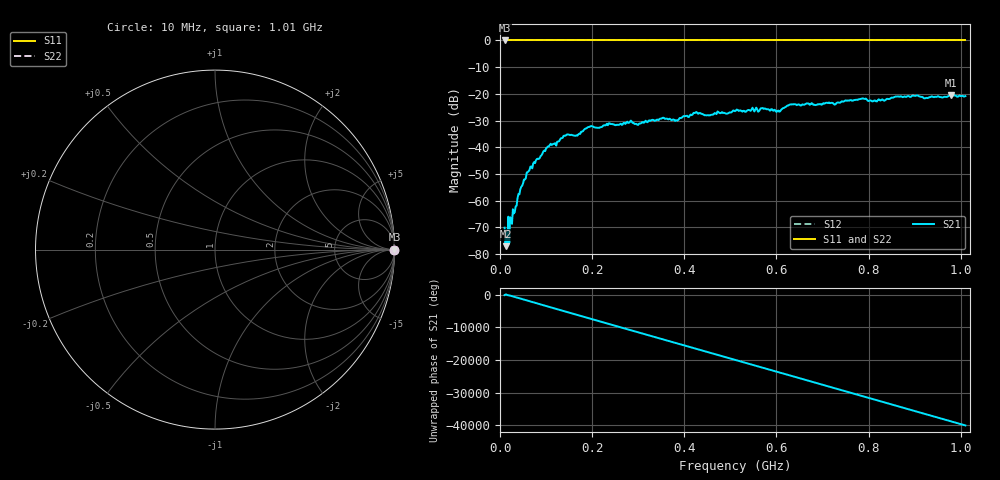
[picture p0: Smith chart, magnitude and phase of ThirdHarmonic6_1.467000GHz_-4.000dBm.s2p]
! 8/16/2025 5:04:48 PM
! C:\ANRITSUVNA\TEMP\TEMP.S2P
! CHANNEL.1
! TR.MEASUREMENT
! RAW.DATA
! RF.CORRECTION.OFF
! AVERAGING.OFF
! IF.BANDWIDTH: 5KHZ
! SWEEPTYPE:  FREQ.SWEEP(Linear)
! Reference Plane Port Info
! PORT:  PORT1  PORT2
! DISTANCE:  0  m  0  m
! TIME:  0  s  0  s
! PHASE.OFFSET:  0  deg.  0  deg.
! LOSS:  0  dB  0  dB
! REF.LOSS:  0  dB  0  dB
! REF.FREQ:  0  Hz  0  Hz
! Power Info
! POWER:  -20  dBm  -20  dBm
! EFF.POWER:  -20  dBm  -20  dBm
! SOURCE.ATTEN:  0  dB  0  dB
! TEST.ATTEN:  0  dB  0  dB
# GHZ S RI R 50.0
! FREQ.GHZ  S11RE  S11IM  S21RE  S21IM  S12RE  S12IM  S22RE  S22IM
!; PortSelection: Port_12
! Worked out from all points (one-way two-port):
!   501 points, 10 MHz to 1.01 GHz, reference 50 ohm
!   highest |S21| = -20.52 dB at 978 MHz (marker M1); lowest = -77.0 dB at 12 MHz (marker M2)
!   lowest |S11| = 0.0 dB at 10 MHz (marker M3)
!   |S11| at or under -10 dB: nowhere
!   |S22| runs from 0.0 to 0.0 dB; largest |S21 - S12| = 1.1
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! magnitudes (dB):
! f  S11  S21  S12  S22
! 10 MHz  0.0  -70.1  0.0  0.0
! 12 MHz  0.0  -77.0  0.0  0.0
! 16 MHz  0.0  -76.1  0.0  0.0
! 26 MHz  0.0  -68.7  0.0  0.0
! 48 MHz  0.0  -54.4  0.0  0.0
! 62 MHz  0.0  -49.0  0.0  0.0
! 76 MHz  0.0  -45.9  0.0  0.0
! 106 MHz  0.0  -39.7  0.0  0.0
! 142 MHz  0.0  -35.7  0.0  0.0
! 178 MHz  0.0  -34.1  0.0  0.0
! 196 MHz  0.0  -32.2  0.0  0.0
! 344 MHz  0.0  -29.8  0.0  0.0
! 384 MHz  0.0  -30.0  0.0  0.0
! 424 MHz  0.0  -27.1  0.0  0.0
! 452 MHz  0.0  -28.0  0.0  0.0
! 510 MHz  0.0  -26.5  0.0  0.0
! 604 MHz  0.0  -26.3  0.0  0.0
! 632 MHz  0.0  -24.0  0.0  0.0
! 678 MHz  0.0  -23.7  0.0  0.0
! 844 MHz  0.0  -21.9  0.0  0.0
! 978 MHz  0.0  -20.5  0.0  0.0
! 1.01 GHz  0.0  -20.8  0.0  0.0
